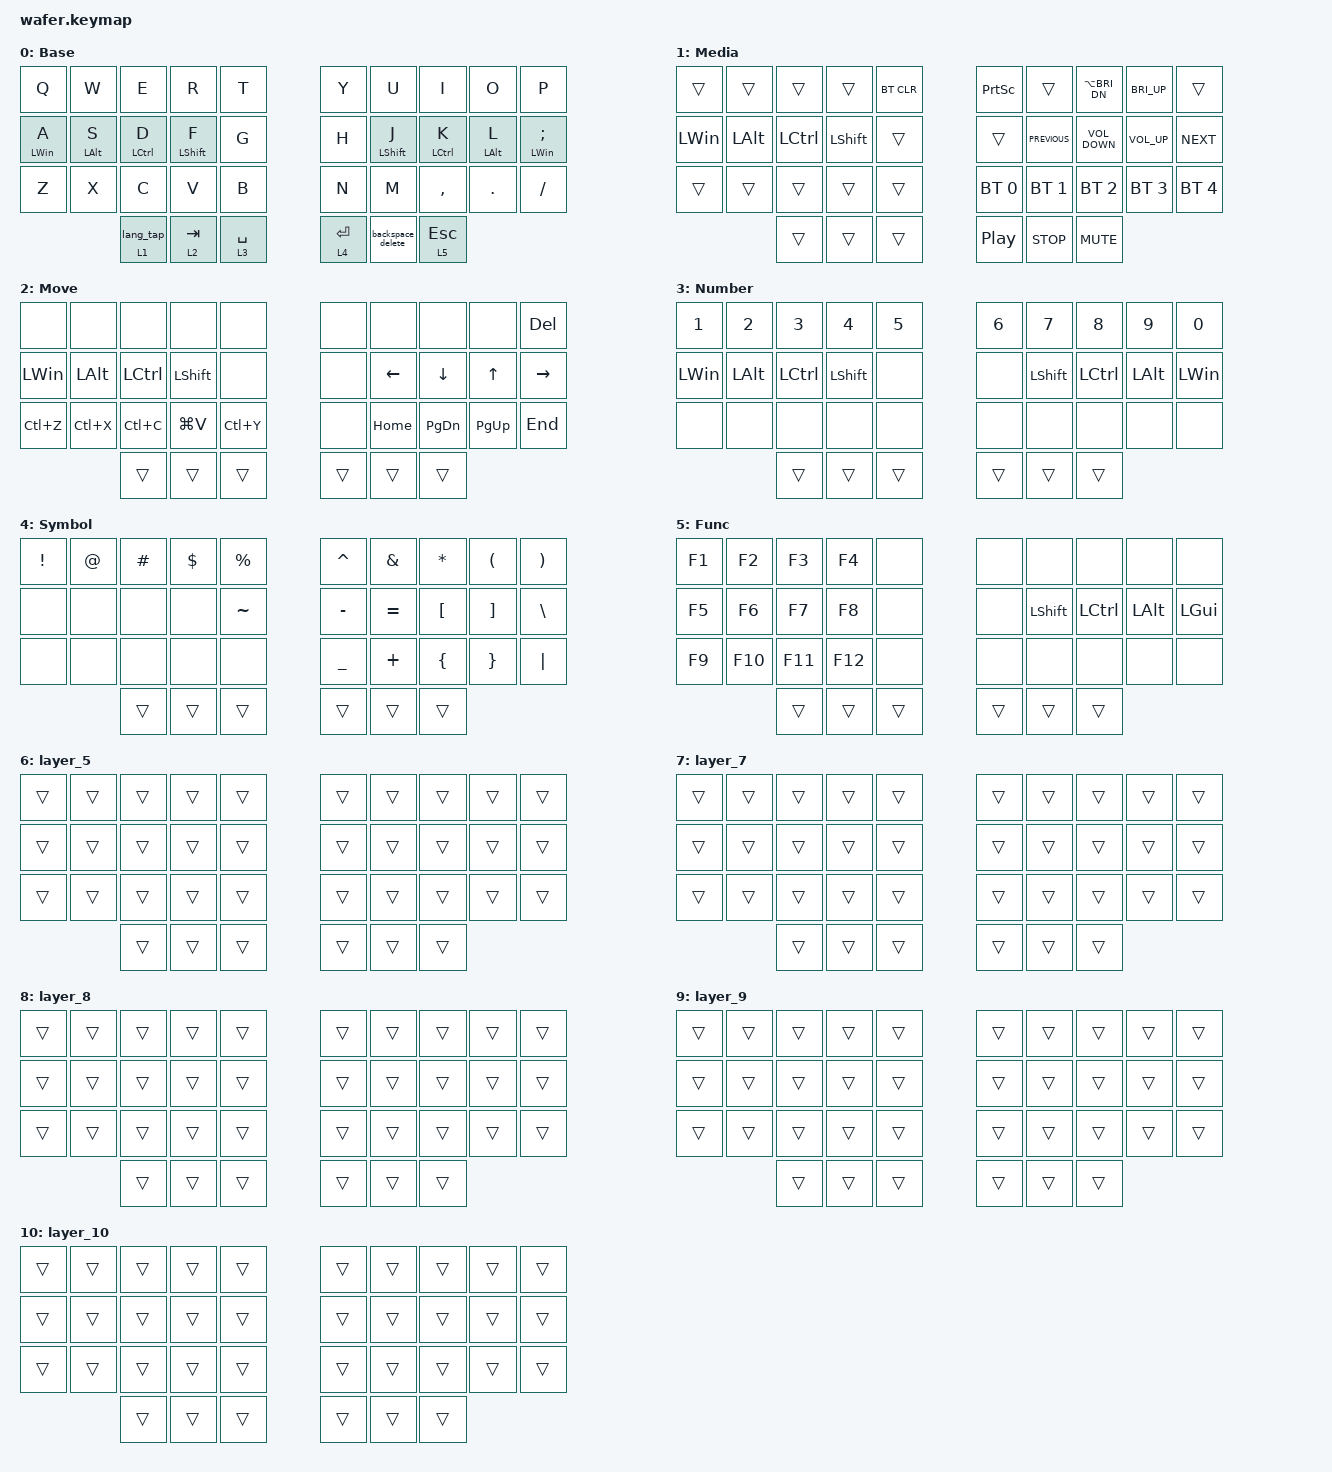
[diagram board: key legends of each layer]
/*
 * Copyright (c) 2026 Oleksandr Maslov
 *
 * SPDX-License-Identifier: MIT
 */

#include <behaviors.dtsi>
#include <dt-bindings/zmk/bt.h>
#include <dt-bindings/zmk/keys.h>

/ {
    chosen { zmk,physical-layout = &wafer_layout_phys; };
};

/ {
    combos {
        compatible = "zmk,combos";

        apostroph {
            bindings = <&kp SQT>;
            key-positions = <8 18>;
        };

        Right_bracket {
            bindings = <&kp RIGHT_BRACKET>;
            key-positions = <29 19>;
        };

        Left_bracket {
            bindings = <&kp LEFT_BRACKET>;
            key-positions = <28 18>;
        };
    };

    macros {
        lang_tap: lang_tap {
            compatible = "zmk,behavior-macro";
            #binding-cells = <0>;
            wait-ms = <0>;
            tap-ms = <0>;
            // KDE's modifier-only shortcut needs Alt in its own report before Shift.
            bindings = <&macro_press &kp LALT>,
                       <&macro_tap &kp LSHFT>,
                       <&macro_release &kp LALT>;
        };
    };

    behaviors {
        lang: lang {
            compatible = "zmk,behavior-hold-tap";
            #binding-cells = <2>;
            flavor = "tap-preferred";
            tapping-term-ms = <200>;
            bindings = <&mo>, <&lang_tap>;
        };

        mod_tap: mod_tap {
            compatible = "zmk,behavior-hold-tap";
            label = "MOD_TAP";
            bindings = <&kp>, <&kp>;

            #binding-cells = <2>;
            tapping-term-ms = <225>;
            quick-tap-ms = <165>;
            require-prior-idle-ms = <150>;
            flavor = "balanced";
            hold-trigger-on-release;
        };

        backspace_delete: backspace_delete {
            compatible = "zmk,behavior-mod-morph";
            label = "BACKSPACE_DELETE";
            bindings = <&kp BACKSPACE>, <&kp DELETE>;

            #binding-cells = <0>;
            mods = <(MOD_LCTL)>;
        };
    };

    keymap {
        compatible = "zmk,keymap";

        Base {
            display-name = "Base";

            // --------------------------------------------------------------------------------
            // |  TAB |  Q  |  W  |  E  |  R  |  T  |   |  Y  |  U   |  I  |  O  |  P  | BSPC |
            // | CTRL |  A  |  S  |  D  |  F  |  G  |   |  H  |  J   |  K  |  L  |  ;  |  '   |
            // | SHFT |  Z  |  X  |  C  |  V  |  B  |   |  N  |  M   |  ,  |  .  |  /  | ESC  |
            //                    | GUI | LWR | SPC |   | ENT | RSE  | ALT |

            bindings = <
&kp Q                &kp W                &kp E             &kp R                   &kp T                     &kp Y        &kp U                  &kp I             &kp O            &kp P
&mod_tap LEFT_WIN A  &mod_tap LEFT_ALT S  &mod_tap LCTRL D  &mod_tap LEFT_SHIFT F   &kp G                     &kp H        &mod_tap LEFT_SHIFT J  &mod_tap LCTRL K  &mod_tap LALT L  &mod_tap LEFT_WIN SEMI
&kp Z                &kp X                &kp C             &kp V                   &kp B                     &kp N        &kp M                  &kp COMMA         &kp DOT          &kp FSLH
                                                            &lang 1 0              &lt 2 TAB  &lt 3 SPACE    &lt 4 ENTER  &backspace_delete      &lt 5 ESCAPE
            >;
        };

        Media {
            bindings = <
&trans        &trans    &trans     &trans          &bt BT_CLR            &kp PSCRN     &trans          &kp LA(C_BRI_DN)   &kp C_BRI_UP     &trans
&kp LEFT_WIN  &kp LALT  &kp LCTRL  &kp LEFT_SHIFT  &trans                &trans        &kp C_PREVIOUS  &kp C_VOLUME_DOWN  &kp C_VOLUME_UP  &kp C_NEXT
&trans        &trans    &trans     &trans          &trans                &bt BT_SEL 0  &bt BT_SEL 1    &bt BT_SEL 2       &bt BT_SEL 3     &bt BT_SEL 4
                                   &trans          &trans      &trans    &kp C_PP      &kp C_STOP      &kp C_MUTE
            >;

            label = "Media";
        };

        Move {
            bindings = <
&none         &none      &none      &none           &none                &none   &none           &none           &none         &kp DELETE
&kp LEFT_WIN  &kp LALT   &kp LCTRL  &kp LEFT_SHIFT  &none                &none   &kp LEFT_ARROW  &kp DOWN_ARROW  &kp UP_ARROW  &kp RIGHT_ARROW
&kp LC(Z)     &kp LC(X)  &kp LC(C)  &kp LG(V)       &kp LC(Y)            &none   &kp HOME        &kp PG_DN       &kp PG_UP     &kp END
                                    &trans          &trans     &trans    &trans  &trans          &trans
            >;

            label = "Move";
        };

        Number {
            display-name = "Number";

            // -----------------------------------------------------------------------------------------
            // |  TAB |  1  |  2  |  3  |  4  |  5  |   |  6  |  7  |  8  |  9  |  0  | BSPC |
            // | BTCLR| BT1 | BT2 | BT3 | BT4 | BT5 |   | LFT | DWN |  UP | RGT |     |      |
            // | SHFT |     |     |     |     |     |   |     |     |     |     |     |      |
            //                    | GUI |     | SPC |   | ENT |     | ALT |

            bindings = <
&kp N1        &kp N2    &kp N3     &kp N4          &kp N5            &kp N6  &kp N7          &kp N8     &kp N9    &kp N0
&kp LEFT_WIN  &kp LALT  &kp LCTRL  &kp LEFT_SHIFT  &none             &none   &kp LEFT_SHIFT  &kp LCTRL  &kp LALT  &kp LEFT_WIN
&none         &none     &none      &none           &none             &none   &none           &none      &none     &none
                                   &trans          &trans  &trans    &trans  &trans          &trans
            >;
        };

        Symbol {
            display-name = "Symbol";

            // -----------------------------------------------------------------------------------------
            // |  TAB |  !  |  @  |  #  |  $  |  %  |   |  ^  |  &  |  *  |  (  |  )  | BSPC |
            // | CTRL |     |     |     |     |     |   |  -  |  =  |  [  |  ]  |  \  |  `   |
            // | SHFT |     |     |     |     |     |   |  _  |  +  |  {  |  }  | "|" |  ~   |
            //                    | GUI |     | SPC |   | ENT |     | ALT |

            bindings = <
&kp EXCL  &kp AT  &kp HASH  &kp DLLR  &kp PRCNT            &kp CARET  &kp AMPS   &kp ASTRK  &kp LPAR  &kp RPAR
&none     &none   &none     &none     &kp TILDE            &kp MINUS  &kp EQUAL  &kp LBKT   &kp RBKT  &kp BSLH
&none     &none   &none     &none     &none                &kp UNDER  &kp PLUS   &kp LBRC   &kp RBRC  &kp PIPE
                            &trans    &trans     &trans    &trans     &trans     &trans
            >;
        };

        Function {
            bindings = <
&kp F1  &kp F2   &kp F3   &kp F4   &none             &none   &none      &none      &none     &none
&kp F5  &kp F6   &kp F7   &kp F8   &none             &none   &kp LSHFT  &kp LCTRL  &kp LALT  &kp LGUI
&kp F9  &kp F10  &kp F11  &kp F12  &none             &none   &none      &none      &none     &none
                          &trans   &trans  &trans    &trans  &trans     &trans
            >;

            label = "Func";
        };

        layer_5 {
            bindings = <
&trans  &trans  &trans  &trans  &trans            &trans  &trans  &trans  &trans  &trans
&trans  &trans  &trans  &trans  &trans            &trans  &trans  &trans  &trans  &trans
&trans  &trans  &trans  &trans  &trans            &trans  &trans  &trans  &trans  &trans
                        &trans  &trans  &trans    &trans  &trans  &trans
            >;
        };

        layer_7 {
            bindings = <
&trans  &trans  &trans  &trans  &trans            &trans  &trans  &trans  &trans  &trans
&trans  &trans  &trans  &trans  &trans            &trans  &trans  &trans  &trans  &trans
&trans  &trans  &trans  &trans  &trans            &trans  &trans  &trans  &trans  &trans
                        &trans  &trans  &trans    &trans  &trans  &trans
            >;
        };

        layer_8 {
            bindings = <
&trans  &trans  &trans  &trans  &trans            &trans  &trans  &trans  &trans  &trans
&trans  &trans  &trans  &trans  &trans            &trans  &trans  &trans  &trans  &trans
&trans  &trans  &trans  &trans  &trans            &trans  &trans  &trans  &trans  &trans
                        &trans  &trans  &trans    &trans  &trans  &trans
            >;
        };

        layer_9 {
            bindings = <
&trans  &trans  &trans  &trans  &trans            &trans  &trans  &trans  &trans  &trans
&trans  &trans  &trans  &trans  &trans            &trans  &trans  &trans  &trans  &trans
&trans  &trans  &trans  &trans  &trans            &trans  &trans  &trans  &trans  &trans
                        &trans  &trans  &trans    &trans  &trans  &trans
            >;
        };

        layer_10 {
            bindings = <
&trans  &trans  &trans  &trans  &trans            &trans  &trans  &trans  &trans  &trans
&trans  &trans  &trans  &trans  &trans            &trans  &trans  &trans  &trans  &trans
&trans  &trans  &trans  &trans  &trans            &trans  &trans  &trans  &trans  &trans
                        &trans  &trans  &trans    &trans  &trans  &trans
            >;
        };
    };
};
